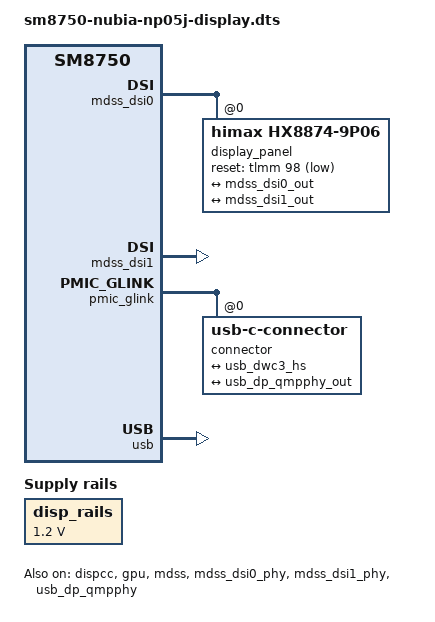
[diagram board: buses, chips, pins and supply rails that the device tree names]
// SPDX-License-Identifier: BSD-3-Clause
/*
 * Copyright (c) 2026 Project Silicium / nubia NP05J (REDMAGIC Astra) bring-up
 *
 * Full Native OLED Desktop Device Tree:
 * Adreno 830v2 GPU + SM8750 DPU/Dual-DSI Command Mode + DSC 1.1
 * (Himax HX8874 9.06" 2400x1504 @ 60/90/120/144/165 Hz + DCS 0x51 backlight)
 * + USB-C Dual-Role (OTG + USB 3.1 Gen 2) + Audio (TFA9874) + Wi-Fi 7 + BT + Touch.
 */

/dts-v1/;

#include "sm8750-nubia-np05j-common.dtsi"

/ {
	/*
	 * รางไฟจำลองแบบ always-on/boot-on สำหรับช่วง bring-up จอ OLED:
	 * บูตโหลดเดอร์เปิดรางไฟจริงของจอ (L4B/L11B/L12B/L13B/L3G/L3I และ GPIO 208/213) ไว้แล้ว
	 * การใช้ตัวแทนแบบคงที่ป้องกันไม่ให้ HLOS ปิดหรือลดแรงดันรางไฟจอกลางทางขณะ probe/modeset
	 */
	disp_rails: regulator-disp-rails {
		compatible = "regulator-fixed";
		regulator-name = "disp_rails";
		regulator-min-microvolt = <1200000>;
		regulator-max-microvolt = <1200000>;
		regulator-always-on;
		regulator-boot-on;
	};
};

&dispcc {
	status = "okay";
};

&gpu {
	status = "okay";
};

&gpu_zap_shader {
	firmware-name = "qcom/gen80000_zap.mbn";
};

&mdss {
	status = "okay";
};

/* DSI0 เป็น clock master ของคู่ Bonded Dual-DSI (DSI0 + DSI1) */
&mdss_dsi0 {
	vdda-supply = <&disp_rails>;

	qcom,dual-dsi-mode;
	qcom,sync-dual-dsi;
	qcom,master-dsi;

	status = "okay";

	display_panel: panel@0 {
		compatible = "himax,hx8874-9p06";
		reg = <0>;

		reset-gpios = <&tlmm 98 GPIO_ACTIVE_LOW>;

		pinctrl-0 = <&disp0_reset_n_active>, <&sde_te_active>;
		pinctrl-names = "default";

		ports {
			#address-cells = <1>;
			#size-cells = <0>;

			port@0 {
				reg = <0>;

				panel_in_0: endpoint {
					remote-endpoint = <&mdss_dsi0_out>;
				};
			};

			port@1 {
				reg = <1>;

				panel_in_1: endpoint {
					remote-endpoint = <&mdss_dsi1_out>;
				};
			};
		};
	};
};

&mdss_dsi0_out {
	remote-endpoint = <&panel_in_0>;
	data-lanes = <0 1 2 3>;
	qcom,te-source = "mdp_vsync_p";
};

&mdss_dsi0_phy {
	vdds-supply = <&disp_rails>;
	status = "okay";
};

/* DSI1 เป็น slave ใช้ PLL เดียวกับ DSI0 */
&mdss_dsi1 {
	assigned-clocks = <&dispcc DISP_CC_MDSS_BYTE1_CLK_SRC>,
			  <&dispcc DISP_CC_MDSS_PCLK1_CLK_SRC>;
	assigned-clock-parents = <&mdss_dsi0_phy DSI_BYTE_PLL_CLK>,
				 <&mdss_dsi0_phy DSI_PIXEL_PLL_CLK>;

	vdda-supply = <&disp_rails>;

	qcom,dual-dsi-mode;
	qcom,sync-dual-dsi;

	status = "okay";
};

&mdss_dsi1_out {
	remote-endpoint = <&panel_in_1>;
	data-lanes = <0 1 2 3>;
};

&mdss_dsi1_phy {
	vdds-supply = <&disp_rails>;
	status = "okay";
};

&pmic_glink {
	orientation-gpios = <&tlmm 61 GPIO_ACTIVE_HIGH>;

	connector@0 {
		compatible = "usb-c-connector";
		reg = <0>;

		power-role = "dual";
		data-role = "dual";

		ports {
			#address-cells = <1>;
			#size-cells = <0>;

			port@0 {
				reg = <0>;

				pmic_glink_hs_in: endpoint {
					remote-endpoint = <&usb_dwc3_hs>;
				};
			};

			port@1 {
				reg = <1>;

				pmic_glink_ss_in: endpoint {
					remote-endpoint = <&usb_dp_qmpphy_out>;
				};
			};
		};
	};
};

&tlmm {
	disp0_reset_n_active: disp0-reset-n-active-state {
		pins = "gpio98";
		function = "gpio";
		drive-strength = <8>;
		bias-disable;
	};

	sde_te_active: sde-te-active-state {
		pins = "gpio86";
		function = "mdp_vsync";
		drive-strength = <2>;
		bias-pull-down;
	};
};

&usb {
	status = "okay";
};

&usb_dp_qmpphy {
	vdda-phy-supply = <&vreg_l2d_0p88>;
	vdda-pll-supply = <&vreg_l3g_1p2>;

	status = "okay";
};

&usb_dp_qmpphy_out {
	remote-endpoint = <&pmic_glink_ss_in>;
};

&usb_dwc3_hs {
	remote-endpoint = <&pmic_glink_hs_in>;
};
